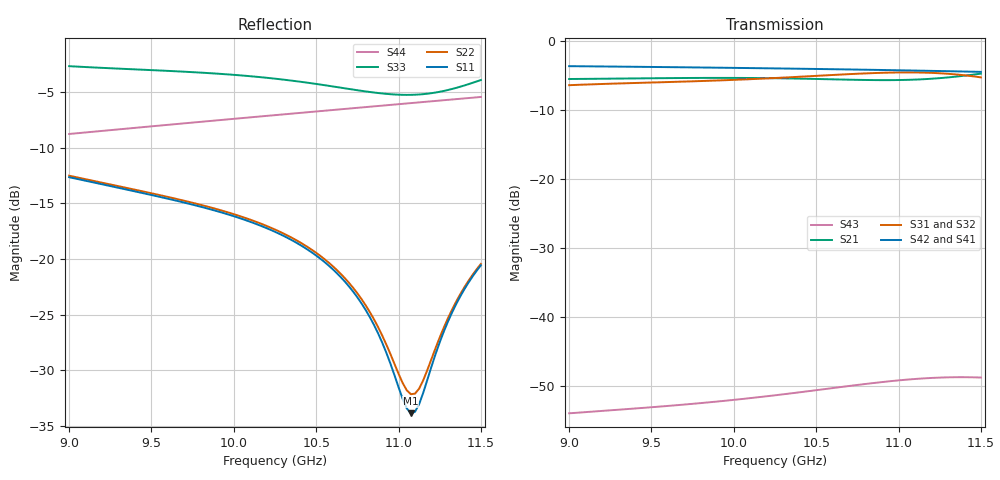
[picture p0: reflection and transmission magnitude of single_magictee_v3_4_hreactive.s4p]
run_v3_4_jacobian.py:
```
#!/usr/bin/env python3
"""
Run the v3.4 H-block center point plus central-difference perturbations.

Default behavior is build-only. Add --solve to run HFSS and export S4P.
Use --skip-center to reuse the committed v3.4 center result and run only the
eight perturbation cases.

Primary coordinates:
    a_H  = h_throat_a
    L_H  = h_throat_len
    b_C  = h_cap_height
    w_t  = h_terminal_ridge_w

Central-difference half-steps:
    a_H: +/- 0.4 mm
    L_H: +/- 1.0 mm
    b_C: +/- 0.4 mm
    w_t: +/- 0.5 mm

The w_t half-step is intentionally 0.5 mm rather than the older 0.8 mm draft
so both samples remain inside the documented 4.0--6.5 mm geometry range.
"""

from __future__ import annotations

import argparse
import json
import subprocess
import sys
from dataclasses import dataclass
from pathlib import Path


@dataclass(frozen=True)
class Case:
    name: str
    overrides: dict[str, float]


CENTER = {
    "h_throat_a": 20.4,
    "h_throat_len": 5.5,
    "h_cap_height": 9.0,
    "h_terminal_ridge_w": 4.572,
}

DELTAS = {
    "h_throat_a": 0.4,
    "h_throat_len": 1.0,
    "h_cap_height": 0.4,
    "h_terminal_ridge_w": 0.5,
}

CLI_FLAG = {
    "h_throat_a": "--h-throat-a",
    "h_throat_len": "--h-throat-len",
    "h_cap_height": "--h-cap-height",
    "h_terminal_ridge_w": "--h-terminal-ridge-w",
}


def make_cases() -> list[Case]:
    cases = [Case("center", {})]
    for param in CENTER:
        d = DELTAS[param]
        cases.append(Case(f"{param}_minus", {param: CENTER[param] - d}))
        cases.append(Case(f"{param}_plus", {param: CENTER[param] + d}))
    return cases


CASES = make_cases()


def resolved_parameters(case: Case) -> dict[str, float]:
    params = dict(CENTER)
    params.update(case.overrides)
    return params


def build_command(args, case: Case, case_dir: Path) -> list[str]:
    cmd = [
        sys.executable,
        str(args.builder),
        "--version",
        args.version,
        "--output",
        str(case_dir),
    ]
    if args.solve:
        cmd.append("--solve")
    if args.non_graphical:
        cmd.append("--non-graphical")

    for param, value in resolved_parameters(case).items():
        cmd.extend([CLI_FLAG[param], f"{value:.9g}"])
    return cmd


def expected_output(case_dir: Path, solve: bool) -> Path:
    if solve:
        return case_dir / "single_magictee_v3_4_hreactive.s4p"
    return case_dir / "single_magictee_v3_4_hreactive.aedt"


def parse_args():
    here = Path(__file__).resolve().parent
    parser = argparse.ArgumentParser()
    parser.add_argument(
        "--builder",
        type=Path,
        default=here / "build_single_magictee_v3_4_hreactive.py",
    )
    parser.add_argument(
        "--output-root",
        type=Path,
        default=here / "output_v3_4_jacobian",
    )
    parser.add_argument("--version", default="2025.2")
    parser.add_argument("--solve", action="store_true")
    parser.add_argument("--non-graphical", action="store_true")
    parser.add_argument("--skip-center", action="store_true")
    parser.add_argument("--skip-existing", action="store_true")
    parser.add_argument(
        "--case",
        action="append",
        dest="selected_cases",
        help="Run only the named case; may be repeated.",
    )
    return parser.parse_args()


def main():
    args = parse_args()
    args.builder = args.builder.resolve()
    args.output_root = args.output_root.resolve()

    if not args.builder.exists():
        raise FileNotFoundError(f"Builder not found: {args.builder}")

    known = {case.name for case in CASES}
    selected = set(args.selected_cases or known)
    unknown = sorted(selected - known)
    if unknown:
        raise ValueError(f"Unknown case(s): {', '.join(unknown)}")

    if args.skip_center:
        selected.discard("center")

    args.output_root.mkdir(parents=True, exist_ok=True)

    manifest = {
        "program": "v3.4 first-order H-block Jacobian",
        "builder": str(args.builder),
        "version": args.version,
        "solve": args.solve,
        "center": CENTER,
        "deltas": DELTAS,
        "cases": [],
    }

    for case in CASES:
        if case.name not in selected:
            continue

        case_dir = args.output_root / case.name
        case_dir.mkdir(parents=True, exist_ok=True)
        target = expected_output(case_dir, args.solve)
        cmd = build_command(args, case, case_dir)

        manifest["cases"].append(
            {
                "name": case.name,
                "parameters_mm": resolved_parameters(case),
                "command": cmd,
                "expected_output": str(target),
            }
        )

        if args.skip_existing and target.exists():
            print(f"[skip] {case.name}: {target} exists")
            continue

        print(f"\n=== {case.name} ===")
        print(" ".join(f'"{x}"' if " " in x else x for x in cmd))
        subprocess.run(cmd, check=True)

        if args.solve and not target.exists():
            raise RuntimeError(
                f"HFSS command completed but expected S4P was not found: {target}"
            )

    manifest_path = args.output_root / "manifest.json"
    manifest_path.write_text(json.dumps(manifest, indent=2), encoding="utf-8")
    print(f"\nManifest: {manifest_path}")


if __name__ == "__main__":
    main()
```
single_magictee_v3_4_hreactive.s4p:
! Touchstone file exported from HFSS 2025.2.4
!  File:  C:/Users/chaoy/Documents/single_magictee_v3_4_hreactive_latest/single_magictee_v3_4_hreactive.aedt
!  Generated:  02:33:53 PM Sep 22, 2026
!  Design:  SingleMagicT_v3_4_HReactiveCell
!  Project:  single_magictee_v3_4_hreactive
! Variables:
!  f_adapt = 10.2GHz
!  h_cap_height = 9mm
!  h_cap_len = 2.5mm
!  h_terminal_ridge_w = 4.572mm
!  h_throat_a = 20.4mm
!  h_throat_len = 5.5mm
!  ridge_g1 = 7.672mm
!  ridge_g2 = 5.8mm
!  ridge_l1 = 9.872mm
!  ridge_l2 = 8.857mm
!  ridge_w = 4.572mm
!  terminal_ridge_len = 7.5mm
!  wg_a = 22.86mm
!  wg_b = 10.16mm
!Data is not renormalized
# GHz S MA
! Terminal data exported
! Port[1] = P1_CollinearMinusX
! Port[2] = P2_CollinearPlusX
! Port[3] = P3_HArm_Ridged
! Port[4] = P4_EArm
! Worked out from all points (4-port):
!   101 points, 9 GHz to 11.5 GHz, reference per port
!   strongest paths, dB at 9 GHz, 9.625 GHz, 10.25 GHz, 10.88 GHz, 11.5 GHz:
!     S42: -3.6, -3.8, -4.0, -4.2, -4.5
!     S41: -3.6, -3.8, -4.0, -4.2, -4.5
!     S31: -6.4, -5.9, -5.4, -4.6, -5.3
!     S32: -6.4, -5.9, -5.4, -4.6, -5.3
!     S21: -5.5, -5.4, -5.4, -5.7, -4.7
!     S43: -54.0, -52.8, -51.4, -49.5, -48.8
!   lowest |S11| = -33.9 dB at 11.07 GHz (marker M1), VSWR 1.04
!   |S11| at or under -10 dB: start of sweep to end of sweep
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9  0.2333 150.2  0.5311 -174.7  0.4791 61.5  0.6588 46.0
   0.5311 -174.7  0.2369 150.1  0.4784 61.2  0.658 -134.3
   0.4791 61.5  0.4784 61.2  0.7359 128.0  0.002004 -72.0
   0.6588 46.0  0.658 -134.3  0.002004 -72.0  0.3648 -115.4
11.075  0.02026 -20.8  0.5246 -24.8  0.5927 132.3  0.6108 -177.6
        0.5246 -24.8  0.02469 -22.1  0.5911 131.9  0.6122 2.0
        0.5927 132.3  0.5911 131.9  0.547 108.9  0.003535 -21.1
        0.6108 -177.6  0.6122 2.0  0.003535 -21.1  0.5022 29.4
11.5  0.09373 -2.3  0.5811 -60.5  0.5456 63.9  0.5965 139.0
      0.5811 -60.5  0.09506 -5.2  0.5437 63.5  0.5982 -41.5
      0.5456 63.9  0.5437 63.5  0.6377 0.8  0.00364 -91.1
      0.5965 139.0  0.5982 -41.5  0.00364 -91.1  0.5351 -13.6
